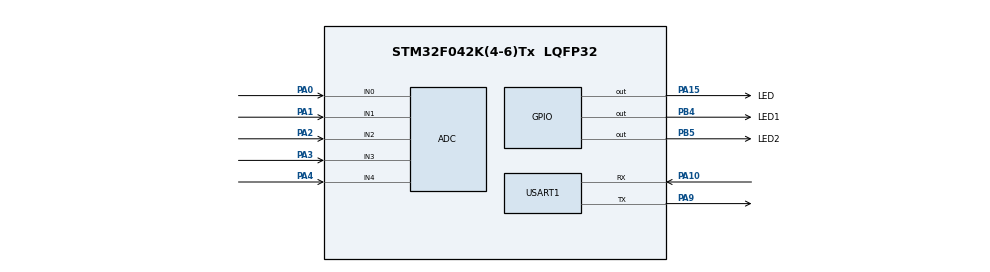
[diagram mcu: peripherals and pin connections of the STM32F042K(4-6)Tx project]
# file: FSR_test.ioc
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Mcu.Family=STM32F0
Mcu.Name=STM32F042K(4-6)Tx
Mcu.Package=LQFP32
PA0.Mode=IN0
PA0.Signal=ADC_IN0
PA1.Mode=IN1
PA1.Signal=ADC_IN1
PA10.Mode=Asynchronous
PA10.Signal=USART1_RX
PA13.Mode=Serial_Wire
PA13.Signal=SYS_SWDIO
PA14.Mode=Serial_Wire
PA14.Signal=SYS_SWCLK
PA15.GPIO_Label=LED
PA15.Signal=GPIO_Output
PA2.Mode=IN2
PA2.Signal=ADC_IN2
PA3.Mode=IN3
PA3.Signal=ADC_IN3
PA4.Mode=IN4
PA4.Signal=ADC_IN4
PA9.Mode=Asynchronous
PA9.Signal=USART1_TX
PB4.GPIO_Label=LED1
PB4.Signal=GPIO_Output
PB5.GPIO_Label=LED2
PB5.Signal=GPIO_Output
PF0-OSC_IN.Mode=HSE-External-Oscillator
PF0-OSC_IN.Signal=RCC_OSC_IN
PF1-OSC_OUT.Mode=HSE-External-Oscillator
PF1-OSC_OUT.Signal=RCC_OSC_OUT
ProjectManager.HeapSize=0x200
ProjectManager.StackSize=0x400
ProjectManager.TargetToolchain=Makefile
USART1.VirtualMode-Asynchronous=VM_ASYNC
board=custom

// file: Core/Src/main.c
/* USER CODE BEGIN Header */
/**
  ******************************************************************************
  * @file           : main.c
  * @brief          : Main program body
  ******************************************************************************
  * @attention
  *
  * Copyright (c) 2026 STMicroelectronics.
  * All rights reserved.
  *
  * This software is licensed under terms that can be found in the LICENSE file
  * in the root directory of this software component.
  * If no LICENSE file comes with this software, it is provided AS-IS.
  *
  ******************************************************************************
  */
/* USER CODE END Header */
#include "main.h"
#include "adc.h"
#include "usart.h"
#include "gpio.h"

/* USER CODE BEGIN Includes */

#include <stdint.h>
#include <stdio.h>

/* USER CODE END Includes */

/* USER CODE BEGIN PD */

#define UART_FRAME_HEADER_0 0x55U
#define UART_FRAME_HEADER_1 0xAAU
#define UART_FRAME_CMD_ADC_RAW 0x00U
#define UART_FRAME_DATA_LEN 2U
#define UART_FRAME_TIMESTAMP_LEN 4U
#define UART_FRAME_PAYLOAD_LEN (1U + UART_FRAME_DATA_LEN + UART_FRAME_TIMESTAMP_LEN)
#define UART_FRAME_TOTAL_LEN (2U + 1U + 1U + UART_FRAME_PAYLOAD_LEN + 2U)

/* USER CODE END PD */

void SystemClock_Config(void);
/* USER CODE BEGIN PFP */

static uint16_t ADC_ReadChannel(uint32_t channel);
static void UART_SendAdcReading(uint8_t address, uint16_t raw_value, uint32_t timestamp_ms);
static void UART_WriteUint16LE(uint8_t *buffer, uint16_t value);
static void UART_WriteUint32LE(uint8_t *buffer, uint32_t value);
static uint16_t UART_CalculateCustomCrc(const uint8_t *buffer, uint8_t length);
static void UART_SendFrameAsHex(const uint8_t *frame, uint8_t frame_length);

/* USER CODE END PFP */

int main(void)
{

  /* MCU Configuration--------------------------------------------------------*/

  /* Reset of all peripherals, Initializes the Flash interface and the Systick. */
  HAL_Init();

  /* Configure the system clock */
  SystemClock_Config();

  /* Initialize all configured peripherals */
  MX_GPIO_Init();
  MX_ADC_Init();
  MX_USART1_UART_Init();
  /* USER CODE BEGIN 2 */

  HAL_UART_Transmit(&huart1, (uint8_t *)"adc frame hex\r\n", 15U, HAL_MAX_DELAY);

  /* USER CODE END 2 */

  /* Infinite loop */
  while (1)
  {

    /* USER CODE BEGIN 3 */
    uint16_t adc_pa1 = ADC_ReadChannel(ADC_CHANNEL_1);
    uint16_t adc_pa2 = ADC_ReadChannel(ADC_CHANNEL_2);
    uint16_t adc_pa3 = ADC_ReadChannel(ADC_CHANNEL_3);
    uint16_t adc_pa4 = ADC_ReadChannel(ADC_CHANNEL_4);
    uint32_t timestamp_ms = HAL_GetTick();

    UART_SendAdcReading(0x01U, adc_pa1, timestamp_ms);
    UART_SendAdcReading(0x02U, adc_pa2, timestamp_ms);
    UART_SendAdcReading(0x03U, adc_pa3, timestamp_ms);
    UART_SendAdcReading(0x04U, adc_pa4, timestamp_ms);

    HAL_Delay(200);
  }
  /* USER CODE END 3 */
}

void SystemClock_Config(void)
{
  RCC_OscInitTypeDef RCC_OscInitStruct = {0};
  RCC_ClkInitTypeDef RCC_ClkInitStruct = {0};
  RCC_PeriphCLKInitTypeDef PeriphClkInit = {0};

  /** Initializes the RCC Oscillators according to the specified parameters
  * in the RCC_OscInitTypeDef structure.
  */
  RCC_OscInitStruct.OscillatorType = RCC_OSCILLATORTYPE_HSI|RCC_OSCILLATORTYPE_HSI14;
  RCC_OscInitStruct.HSIState = RCC_HSI_ON;
  RCC_OscInitStruct.HSI14State = RCC_HSI14_ON;
  RCC_OscInitStruct.HSICalibrationValue = RCC_HSICALIBRATION_DEFAULT;
  RCC_OscInitStruct.HSI14CalibrationValue = 16;
  RCC_OscInitStruct.PLL.PLLState = RCC_PLL_NONE;
  if (HAL_RCC_OscConfig(&RCC_OscInitStruct) != HAL_OK)
  {
    Error_Handler();
  }

  /** Initializes the CPU, AHB and APB buses clocks
  */
  RCC_ClkInitStruct.ClockType = RCC_CLOCKTYPE_HCLK|RCC_CLOCKTYPE_SYSCLK
                              |RCC_CLOCKTYPE_PCLK1;
  RCC_ClkInitStruct.SYSCLKSource = RCC_SYSCLKSOURCE_HSI;
  RCC_ClkInitStruct.AHBCLKDivider = RCC_SYSCLK_DIV1;
  RCC_ClkInitStruct.APB1CLKDivider = RCC_HCLK_DIV1;

  if (HAL_RCC_ClockConfig(&RCC_ClkInitStruct, FLASH_LATENCY_0) != HAL_OK)
  {
    Error_Handler();
  }
  PeriphClkInit.PeriphClockSelection = RCC_PERIPHCLK_USART1;
  PeriphClkInit.Usart1ClockSelection = RCC_USART1CLKSOURCE_PCLK1;
  if (HAL_RCCEx_PeriphCLKConfig(&PeriphClkInit) != HAL_OK)
  {
    Error_Handler();
  }
}

/* USER CODE BEGIN 4 */

static uint16_t ADC_ReadChannel(uint32_t channel)
{
  ADC_ChannelConfTypeDef sConfig = {0};

  hadc.Instance->CHSELR = 0U;

  sConfig.Channel = channel;
  sConfig.Rank = ADC_RANK_CHANNEL_NUMBER;
  sConfig.SamplingTime = ADC_SAMPLETIME_1CYCLE_5;
  if (HAL_ADC_ConfigChannel(&hadc, &sConfig) != HAL_OK)
  {
    return 0U;
  }

  if (HAL_ADC_Start(&hadc) != HAL_OK)
  {
    return 0U;
  }

  if (HAL_ADC_PollForConversion(&hadc, HAL_MAX_DELAY) != HAL_OK)
  {
    (void)HAL_ADC_Stop(&hadc);
    return 0U;
  }

  uint16_t value = (uint16_t)HAL_ADC_GetValue(&hadc);
  (void)HAL_ADC_Stop(&hadc);
  return value;
}

static void UART_SendAdcReading(uint8_t address, uint16_t raw_value, uint32_t timestamp_ms)
{
  uint8_t frame[UART_FRAME_TOTAL_LEN];
  uint16_t crc;

  frame[0] = UART_FRAME_HEADER_0;
  frame[1] = UART_FRAME_HEADER_1;
  frame[2] = address;
  frame[3] = UART_FRAME_PAYLOAD_LEN;
  frame[4] = UART_FRAME_CMD_ADC_RAW;
  UART_WriteUint16LE(&frame[5], raw_value);
  UART_WriteUint32LE(&frame[7], timestamp_ms);

  crc = UART_CalculateCustomCrc(frame, (uint8_t)(UART_FRAME_TOTAL_LEN - 2U));
  UART_WriteUint16LE(&frame[11], crc);

  UART_SendFrameAsHex(frame, UART_FRAME_TOTAL_LEN);
}

static void UART_WriteUint16LE(uint8_t *buffer, uint16_t value)
{
  buffer[0] = (uint8_t)(value & 0xFFU);
  buffer[1] = (uint8_t)((value >> 8) & 0xFFU);
}

static void UART_WriteUint32LE(uint8_t *buffer, uint32_t value)
{
  buffer[0] = (uint8_t)(value & 0xFFU);
  buffer[1] = (uint8_t)((value >> 8) & 0xFFU);
  buffer[2] = (uint8_t)((value >> 16) & 0xFFU);
  buffer[3] = (uint8_t)((value >> 24) & 0xFFU);
}

static uint16_t UART_CalculateCustomCrc(const uint8_t *buffer, uint8_t length)
{
  uint16_t crc = 0xA5A5U;
  uint8_t index;

  for (index = 0U; index < length; ++index)
  {
    crc = (uint16_t)(crc + buffer[index]);
    crc = (uint16_t)((crc << 1) | (crc >> 15));
    crc ^= (uint16_t)(0x1021U + index);
  }

  return crc;
}

static void UART_SendFrameAsHex(const uint8_t *frame, uint8_t frame_length)
{
  static const char hex_digits[] = "0123456789ABCDEF";
  char msg[(UART_FRAME_TOTAL_LEN * 3U) + 2U];
  uint8_t frame_index;
  uint8_t msg_index = 0U;

  for (frame_index = 0U; frame_index < frame_length; ++frame_index)
  {
    msg[msg_index++] = hex_digits[(frame[frame_index] >> 4) & 0x0FU];
    msg[msg_index++] = hex_digits[frame[frame_index] & 0x0FU];
    msg[msg_index++] = (frame_index == (uint8_t)(frame_length - 1U)) ? '\r' : ' ';
  }

  msg[msg_index++] = '\n';
  HAL_UART_Transmit(&huart1, (uint8_t *)msg, msg_index, HAL_MAX_DELAY);
}

/* USER CODE END 4 */

void Error_Handler(void)
{
  __disable_irq();
  while (1)
  {
  }
}
